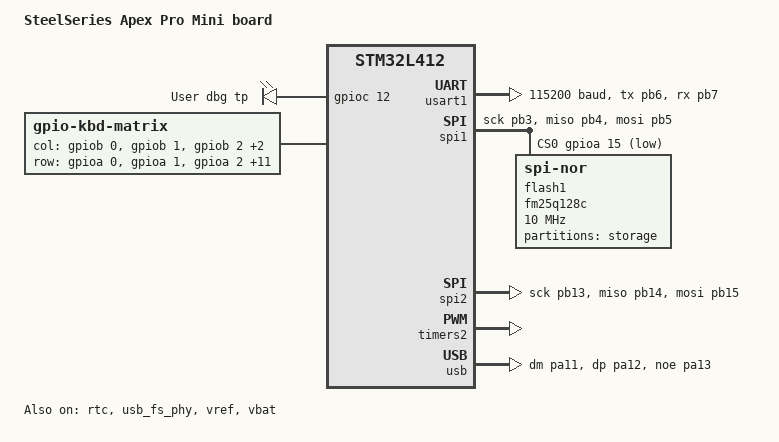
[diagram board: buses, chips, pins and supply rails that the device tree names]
/*
 * Copyright (c) 2025 Eve Redero
 *
 * SPDX-License-Identifier: Apache-2.0
 */

/dts-v1/;
#include <st/l4/stm32l412XB.dtsi>
#include <st/l4/stm32l412rbtx-pinctrl.dtsi>
#include <zephyr/dt-bindings/input/input-event-codes.h>
#include <zephyr/dt-bindings/input/keymap.h>

/ {
	model = "SteelSeries Apex Pro Mini board";
	compatible = "steelseries,apex_pro_mini", "st,stm32l412";

	chosen {
		zephyr,console = &cdc_acm_uart0;
		zephyr,shell-uart = &cdc_acm_uart0;
		zephyr,sram = &sram0;
		zephyr,flash = &flash0;
	};

	leds: leds {
		compatible = "gpio-leds";

		dbg_led: led_0 {
			gpios = <&gpioc 12 GPIO_ACTIVE_HIGH>;
			label = "User dbg tp";
		};
	};

	aliases {
		led0 = &dbg_led;
		volt-sensor0 = &vref;
		volt-sensor1 = &vbat;
	};

	kbd: kbd-matrix {
		compatible = "gpio-kbd-matrix";
		status = "okay";
		idle-mode = "poll";
		settle-time-us = <110>;
		no-ghostkey-check;
		col-drive-inactive;
		col-gpios = <&gpiob 0  (GPIO_ACTIVE_HIGH | GPIO_PULL_DOWN)>
			, <&gpiob 1  (GPIO_ACTIVE_HIGH | GPIO_PULL_DOWN)>
			, <&gpiob 2  (GPIO_ACTIVE_HIGH | GPIO_PULL_DOWN)>
			, <&gpiob 10 (GPIO_ACTIVE_HIGH | GPIO_PULL_DOWN)>
			, <&gpiob 11 (GPIO_ACTIVE_HIGH | GPIO_PULL_DOWN)>
			;
		row-gpios = <&gpioa 0  GPIO_ACTIVE_HIGH>
			, <&gpioa 1  GPIO_ACTIVE_HIGH>
			, <&gpioa 2  GPIO_ACTIVE_HIGH>
			, <&gpioa 3  GPIO_ACTIVE_HIGH>
			, <&gpioa 4  GPIO_ACTIVE_HIGH>
			, <&gpioa 5  GPIO_ACTIVE_HIGH>
			, <&gpioa 6  GPIO_ACTIVE_HIGH>
			, <&gpioa 7  GPIO_ACTIVE_HIGH>
			, <&gpioc 4  GPIO_ACTIVE_HIGH>
			, <&gpioc 5  GPIO_ACTIVE_HIGH>
			, <&gpioc 0  GPIO_ACTIVE_HIGH>
			, <&gpioc 1  GPIO_ACTIVE_HIGH>
			, <&gpioc 2  GPIO_ACTIVE_HIGH>
			, <&gpioc 3  GPIO_ACTIVE_HIGH>
			;

		keymap {
			compatible = "input-keymap";
			row-size = <14>;
			col-size = <5>;
			keymap = <MATRIX_KEY(0, 0, INPUT_KEY_ESC)
				MATRIX_KEY(1, 0, INPUT_KEY_1)
				MATRIX_KEY(2, 0, INPUT_KEY_2)
				MATRIX_KEY(3, 0, INPUT_KEY_3)
				MATRIX_KEY(4, 0, INPUT_KEY_4)
				MATRIX_KEY(5, 0, INPUT_KEY_5)
				MATRIX_KEY(6, 0, INPUT_KEY_6)
				MATRIX_KEY(7, 0, INPUT_KEY_7)
				MATRIX_KEY(8, 0, INPUT_KEY_8)
				MATRIX_KEY(9, 0, INPUT_KEY_9)
				MATRIX_KEY(10, 0, INPUT_KEY_0)
				MATRIX_KEY(11, 0, INPUT_KEY_MINUS)
				MATRIX_KEY(12, 0, INPUT_KEY_EQUAL)
				MATRIX_KEY(13, 0, INPUT_KEY_BACKSPACE)
				MATRIX_KEY(0, 1, INPUT_KEY_TAB)
				MATRIX_KEY(1, 1, INPUT_KEY_A)
				MATRIX_KEY(2, 1, INPUT_KEY_Z)
				MATRIX_KEY(3, 1, INPUT_KEY_E)
				MATRIX_KEY(4, 1, INPUT_KEY_R)
				MATRIX_KEY(5, 1, INPUT_KEY_T)
				MATRIX_KEY(6, 1, INPUT_KEY_Y)
				MATRIX_KEY(7, 1, INPUT_KEY_U)
				MATRIX_KEY(8, 1, INPUT_KEY_I)
				MATRIX_KEY(9, 1, INPUT_KEY_O)
				MATRIX_KEY(10, 1, INPUT_KEY_P)
				MATRIX_KEY(11, 1, INPUT_KEY_LEFTBRACE)
				MATRIX_KEY(12, 1, INPUT_KEY_RIGHTBRACE)
				MATRIX_KEY(0, 2, INPUT_KEY_CAPSLOCK)
				MATRIX_KEY(1, 2, INPUT_KEY_Q)
				MATRIX_KEY(2, 2, INPUT_KEY_S)
				MATRIX_KEY(3, 2, INPUT_KEY_D)
				MATRIX_KEY(4, 2, INPUT_KEY_F)
				MATRIX_KEY(5, 2, INPUT_KEY_G)
				MATRIX_KEY(6, 2, INPUT_KEY_H)
				MATRIX_KEY(7, 2, INPUT_KEY_J)
				MATRIX_KEY(8, 2, INPUT_KEY_K)
				MATRIX_KEY(9, 2, INPUT_KEY_L)
				MATRIX_KEY(10, 2, INPUT_KEY_M)
				MATRIX_KEY(11, 2, INPUT_KEY_SEMICOLON)
				MATRIX_KEY(12, 2, INPUT_KEY_BACKSLASH)
				MATRIX_KEY(13, 2, INPUT_KEY_ENTER)
				MATRIX_KEY(0, 3, INPUT_KEY_LEFTSHIFT)
				MATRIX_KEY(1, 3, INPUT_KEY_HOME)
				MATRIX_KEY(2, 3, INPUT_KEY_W)
				MATRIX_KEY(3, 3, INPUT_KEY_X)
				MATRIX_KEY(4, 3, INPUT_KEY_C)
				MATRIX_KEY(5, 3, INPUT_KEY_V)
				MATRIX_KEY(6, 3, INPUT_KEY_B)
				MATRIX_KEY(7, 3, INPUT_KEY_N)
				MATRIX_KEY(8, 3, INPUT_KEY_M)
				MATRIX_KEY(9, 3, INPUT_KEY_COMMA)
				MATRIX_KEY(10, 3, INPUT_KEY_DOT)
				MATRIX_KEY(11, 3, INPUT_KEY_SLASH)
				MATRIX_KEY(13, 3, INPUT_KEY_RIGHTSHIFT)
				MATRIX_KEY(0, 4, INPUT_KEY_LEFTCTRL)
				MATRIX_KEY(1, 4, INPUT_KEY_LEFTMETA)
				MATRIX_KEY(2, 4, INPUT_KEY_LEFTALT)
				MATRIX_KEY(4, 4, INPUT_KEY_SPACE)
				MATRIX_KEY(7, 4, INPUT_KEY_RIGHTALT)
				MATRIX_KEY(8, 4, INPUT_KEY_RIGHTMETA)
				MATRIX_KEY(9, 4, INPUT_KEY_COFFEE)
				MATRIX_KEY(10, 4, INPUT_KEY_RIGHTCTRL)>;
		};
	};
};

&clk_lsi {
	status = "okay";
};

&clk_hsi {
	status = "okay";
};

&clk_hsi48 {
	status = "okay";
};

&pll {
	div-m = <1>;
	mul-n = <10>;
	div-q = <2>;
	div-r = <2>;
	clocks = <&clk_hsi>;
	status = "okay";
};

&rcc {
	clocks = <&pll>;
	clock-frequency = <DT_FREQ_M(80)>;
	ahb-prescaler = <1>;
	apb1-prescaler = <1>;
	apb2-prescaler = <1>;
};

&usart1 {
	pinctrl-0 = <&usart1_tx_pb6 &usart1_rx_pb7>;
	pinctrl-names = "default";
	current-speed = <115200>;
	status = "okay";
};

&spi1 {
	pinctrl-0 = <&spi1_sck_pb3 &spi1_miso_pb4 &spi1_mosi_pb5>;
	pinctrl-names = "default";
	cs-gpios = <&gpioa 15 (GPIO_ACTIVE_LOW | GPIO_PULL_UP)>;
	status = "okay";

	flash1: fm25q128c@0 {
		compatible = "jedec,spi-nor";
		reg = <0>;
		spi-max-frequency = <DT_FREQ_M(10)>;
		size = <DT_SIZE_K(16384)>;
		jedec-id = [a1 40 14];
		has-dpd;
	};
};

&spi2 {
	pinctrl-0 = <&spi2_sck_pb13 &spi2_miso_pb14 &spi2_mosi_pb15>;
	pinctrl-names = "default";
	cs-gpios = <&gpiob 12 (GPIO_ACTIVE_LOW | GPIO_PULL_UP)>;
	status = "okay";
};

&timers2 {
	status = "okay";

	pwm2: pwm {
		status = "okay";
		pinctrl-0 = <&tim2_ch1_pa0>;
		pinctrl-names = "default";
	};
};

&rtc {
	clocks = <&rcc STM32_CLOCK_BUS_APB1 0x10000000>,
		 <&rcc STM32_SRC_LSI RTC_SEL(2)>;
	status = "okay";
};

&flash1 {
	partitions {
		compatible = "fixed-partitions";
		#address-cells = <1>;
		#size-cells = <1>;

		storage_partition: partition@0 {
			label = "storage";
			reg = <0x0 DT_SIZE_K(16384)>;
		};
	};
};

&usb_fs_phy {
	status = "okay";
};

zephyr_udc0: &usb {
	status = "okay";
	pinctrl-0 = <&usb_dm_pa11 &usb_dp_pa12 &usb_noe_pa13>;
	pinctrl-names = "default";

	cdc_acm_uart0: cdc_acm_uart0 {
		compatible = "zephyr,cdc-acm-uart";
	};
};

&vref {
	status = "okay";
};

&vbat {
	status = "okay";
};
